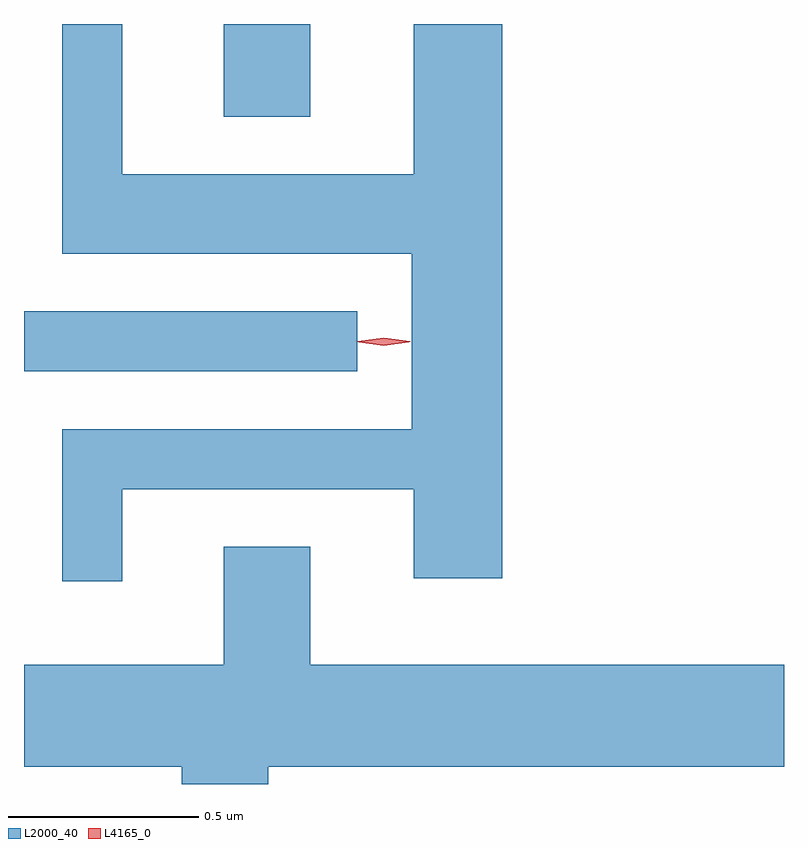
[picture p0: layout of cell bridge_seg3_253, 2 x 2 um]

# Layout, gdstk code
import gdstk
lib = gdstk.Library(unit=1e-6, precision=1e-09)
def R(c, l, rs):  # rectangles x0, y0, x1, y1
    for r in rs: c.add(gdstk.rectangle(r[:2], r[2:], *l))
def P(c, l, *ps):  # polygons
    for p in ps: c.add(gdstk.Polygon(p, *l))
L2000_40 = (2000, 40)
L4165_0 = (4165, 0)

bridge_seg3_253 = lib.new_cell('bridge_seg3_253')
R(bridge_seg3_253, L2000_40, [(978.286,1131.496,979.163,1131.654), (978.811,1132.166,979.039,1132.41)])
P(bridge_seg3_253, L2000_40, [(978.544,1131.186),(979.311,1131.186),(979.311,1130.951),(979.544,1130.951),(979.544,1132.41),(979.311,1132.41),(979.311,1132.014),(978.544,1132.014),(978.544,1132.41),(978.386,1132.41),(978.386,1131.806),(979.306,1131.806),(979.306,1131.344),(978.386,1131.344),(978.386,1130.943),(978.544,1130.943)],
  [(978.929,1130.456),(980.286,1130.456),(980.286,1130.724),(979.039,1130.724),(979.039,1131.034),(978.811,1131.034),(978.811,1130.724),(978.286,1130.724),(978.286,1130.456),(978.701,1130.456),(978.701,1130.41),(978.929,1130.41)])
P(bridge_seg3_253, L4165_0, [(979.233,1131.565),(979.164,1131.574),(979.163,1131.575),(979.164,1131.575),(979.233,1131.585),(979.302,1131.575),(979.302,1131.575),(979.302,1131.574)],
  [(979.233,1131.563),(979.167,1131.572),(979.167,1131.573),(979.167,1131.573),(979.233,1131.583),(979.299,1131.573),(979.299,1131.573),(979.299,1131.572)])

lib.write_gds('bridge_seg3_253.gds')
